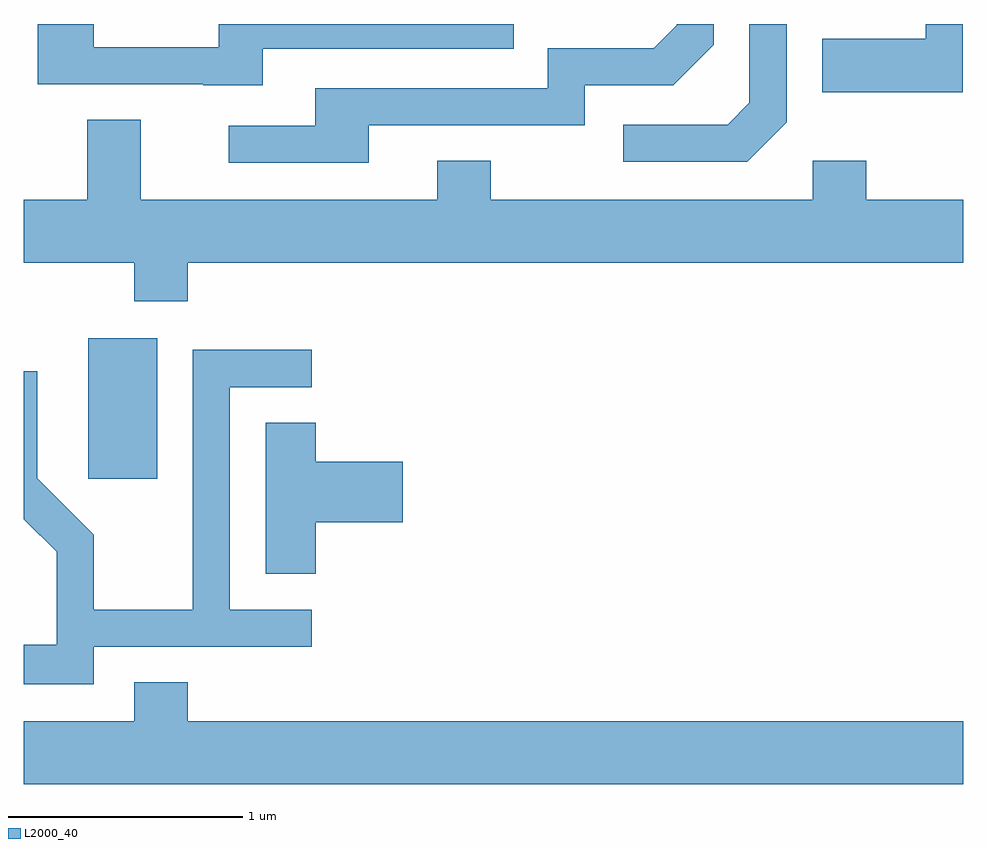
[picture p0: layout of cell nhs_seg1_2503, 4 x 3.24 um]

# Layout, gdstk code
import gdstk
lib = gdstk.Library(unit=1e-6, precision=1e-09)
def R(c, l, rs):  # rectangles x0, y0, x1, y1
    for r in rs: c.add(gdstk.rectangle(r[:2], r[2:], *l))
def P(c, l, *ps):  # polygons
    for p in ps: c.add(gdstk.Polygon(p, *l))
L2000_40 = (2000, 40)

nhs_seg1_2503 = lib.new_cell('nhs_seg1_2503')
R(nhs_seg1_2503, L2000_40, [(261.886,889.776,262.179,890.374)])
P(nhs_seg1_2503, L2000_40, [(263.079,891.281),(263.999,891.281),(263.999,891.451),(264.377,891.451),(264.549,891.624),(264.549,891.712),(264.391,891.712),(264.391,891.707),(264.294,891.609),(263.841,891.609),(263.841,891.439),(262.851,891.439),(262.851,891.279),(262.483,891.279),(262.483,891.121),(263.079,891.121)],
  [(265.609,891.712),(265.451,891.712),(265.451,891.649),(265.011,891.649),(265.011,891.421),(265.609,891.421)],
  [(264.859,891.294),(264.859,891.712),(264.701,891.712),(264.701,891.377),(264.609,891.284),(264.163,891.284),(264.163,891.126),(264.692,891.126)],
  [(262.629,891.606),(263.698,891.606),(263.698,891.712),(262.441,891.712),(262.441,891.614),(261.909,891.614),(261.909,891.712),(261.671,891.712),(261.671,891.456),(262.375,891.456),(262.375,891.451),(262.629,891.451)],
  [(262.309,890.696),(265.611,890.696),(265.611,890.964),(265.199,890.964),(265.199,891.129),(264.971,891.129),(264.971,890.964),(263.599,890.964),(263.599,891.129),(263.371,891.129),(263.371,890.964),(262.109,890.964),(262.109,891.304),(261.881,891.304),(261.881,890.964),(261.611,890.964),(261.611,890.696),(262.081,890.696),(262.081,890.531),(262.309,890.531)],
  [(261.909,889.061),(262.838,889.061),(262.838,889.219),(262.489,889.219),(262.489,890.166),(262.838,890.166),(262.838,890.324),(262.331,890.324),(262.331,889.219),(261.909,889.219),(261.909,889.537),(261.669,889.777),(261.669,890.233),(261.611,890.233),(261.611,889.604),(261.751,889.464),(261.751,889.069),(261.611,889.069),(261.611,888.901),(261.909,888.901)],
  [(262.854,889.591),(263.224,889.591),(263.224,889.849),(262.854,889.849),(262.854,890.014),(262.641,890.014),(262.641,889.371),(262.854,889.371)],
  [(265.611,888.744),(262.309,888.744),(262.309,888.909),(262.081,888.909),(262.081,888.744),(261.611,888.744),(261.611,888.476),(265.611,888.476)])

lib.write_gds('nhs_seg1_2503.gds')
